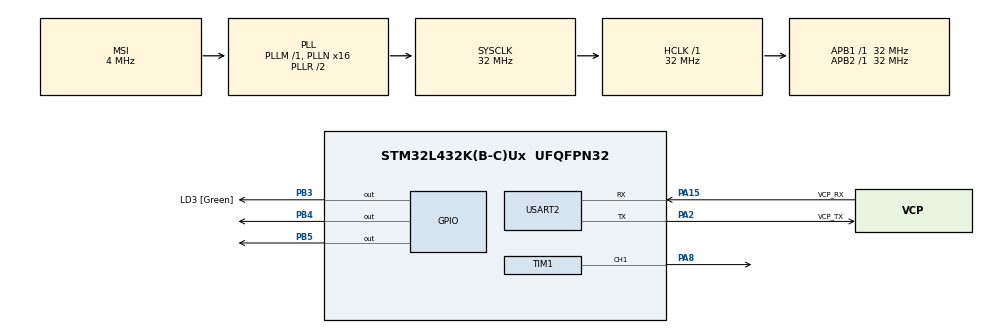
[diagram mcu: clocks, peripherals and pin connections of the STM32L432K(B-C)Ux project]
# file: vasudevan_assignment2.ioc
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Mcu.Family=STM32L4
Mcu.Name=STM32L432K(B-C)Ux
Mcu.Package=UFQFPN32
NVIC.PriorityGroup=NVIC_PRIORITYGROUP_4
PA0.GPIO_Label=MCO [High speed clock in]
PA0.Mode=HSE-External-Clock-Source-for-LittleOrca
PA0.Signal=RCC_CK_IN
PA13\ (JTMS-SWDIO).GPIO_Label=SWDIO
PA13\ (JTMS-SWDIO).Mode=Serial_Wire
PA13\ (JTMS-SWDIO).Signal=SYS_JTMS-SWDIO
PA14\ (JTCK-SWCLK).GPIO_Label=SWCLK
PA14\ (JTCK-SWCLK).Mode=Serial_Wire
PA14\ (JTCK-SWCLK).Signal=SYS_JTCK-SWCLK
PA15\ (JTDI).GPIO_Label=VCP_RX
PA15\ (JTDI).Mode=Asynchronous
PA15\ (JTDI).Signal=USART2_RX
PA2.GPIO_Label=VCP_TX
PA2.Mode=Asynchronous
PA2.Signal=USART2_TX
PA7.Signal=TIM1_CH1N
PA8.Signal=S_TIM1_CH1
PB3\ (JTDO-TRACESWO).GPIO_Label=LD3 [Green]
PB3\ (JTDO-TRACESWO).Signal=GPIO_Output
PB4\ (NJTRST).Signal=GPIO_Output
PB5.Signal=GPIO_Output
PC14-OSC32_IN\ (PC14).Mode=LSE-External-Oscillator
PC14-OSC32_IN\ (PC14).Signal=RCC_OSC32_IN
PC15-OSC32_OUT\ (PC15).Mode=LSE-External-Oscillator
PC15-OSC32_OUT\ (PC15).Signal=RCC_OSC32_OUT
ProjectManager.HeapSize=0x200
ProjectManager.StackSize=0x400
ProjectManager.TargetToolchain=STM32CubeIDE
RCC.AHBFreq_Value=32000000
RCC.APB1Freq_Value=32000000
RCC.APB1TimFreq_Value=32000000
RCC.APB2Freq_Value=32000000
RCC.APB2TimFreq_Value=32000000
RCC.CortexFreq_Value=32000000
RCC.HCLKFreq_Value=32000000
RCC.HSE_VALUE=8000000
RCC.HSI16_VALUE=16000000
RCC.HSI48_VALUE=48000000
RCC.HSI_VALUE=16000000
RCC.MSI_VALUE=4000000
RCC.PLLMUL=RCC_PLLMUL_4
RCC.PLLN=16
RCC.SYSCLKFreq_VALUE=32000000
RCC.SYSCLKSource=RCC_SYSCLKSOURCE_PLLCLK
RCC.VCOOutputFreq_Value=64000000
SH.S_TIM1_CH1.0=TIM1_CH1,PWM Generation1 CH1
TIM1.Channel-PWM\ Generation1\ CH1=TIM_CHANNEL_1
USART2.VirtualMode-Asynchronous=VM_ASYNC
VP_TIM1_VS_ClockSourceINT.Mode=Internal
board=NUCLEO-L432KC

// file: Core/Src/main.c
/* USER CODE BEGIN Header */
/**
  ******************************************************************************
  * FILE           : main.c
  * PROJECT        : vasudevan_assignment2
  * PROGRAMMER     : Pranav Manakkulamparambil Vasudevan
  * FIRST VERSION  : 2020-02-20
  * DESCRIPTION    : Code for embedded systems that allows the authorized staff
                    to access the site. Ten 4-digit authorization codes have been
                    issued for accessing to the site. The software is going to
                    prompt for the passcode before unlocking the facility’s door.

                    * If the entered passcode is correct, then "Access granted"
                      message displays on the Putty screen, Green light displays
                      on RGB led which is excited by the pin PB4 and a continuous
                      auditory signal sent to the speaker via PA7 of STM32L432 for
                      2 seconds
                    * if the entered passcode is incorrect, then "Access denied"
                      meessage displays on the Putty screen, Red light displays
                      on RGP led which is excited by pin PB5 and sos code is send
                      to speaker with is excited by PA7 as an auditory signal
  ******************************************************************************
  * @attention
  *
  * <h2><center>&copy; Copyright (c) 2020 STMicroelectronics.
  * All rights reserved.</center></h2>
  *
  * This software component is licensed by ST under BSD 3-Clause license,
  * the "License"; You may not use this file except in compliance with the
  * License. You may obtain a copy of the License at:
  *                        opensource.org/licenses/BSD-3-Clause
  *
  ******************************************************************************
  */
/* USER CODE END Header */

#include "main.h"
#include "stdio.h"//library to include printf and scanf function
//function declarations
void grantedLed();
void deniedLed();
void sos();

TIM_HandleTypeDef htim1;

UART_HandleTypeDef huart2;

void SystemClock_Config(void);
static void MX_GPIO_Init(void);
static void MX_USART2_UART_Init(void);
static void MX_TIM1_Init(void);

/* USER CODE BEGIN 0 */
void setPWMandTurnON(TIM_HandleTypeDef* htim1, int32_t pwmPeriod) {
	TIM_MasterConfigTypeDef sMasterConfig;
	TIM_OC_InitTypeDef sConfigOC;
	TIM_BreakDeadTimeConfigTypeDef sBreakDeadTimeConfig;
	htim1->Instance = TIM1;
	htim1->Init.Prescaler = 0;
	htim1->Init.CounterMode = TIM_COUNTERMODE_UP;
	htim1->Init.Period = pwmPeriod;
	htim1->Init.ClockDivision = TIM_CLOCKDIVISION_DIV1;
	htim1->Init.RepetitionCounter = 0;
	if (HAL_TIM_PWM_Init(&*htim1) != HAL_OK) {
		Error_Handler();
	}
	sMasterConfig.MasterOutputTrigger = TIM_TRGO_RESET;
	sMasterConfig.MasterOutputTrigger2 = TIM_TRGO2_RESET;
	sMasterConfig.MasterSlaveMode = TIM_MASTERSLAVEMODE_DISABLE;
	if (HAL_TIMEx_MasterConfigSynchronization(&*htim1, &sMasterConfig)
			!= HAL_OK) {
		Error_Handler();
	}
	/* adding this as ST Tech Support said PWM should be stopped before
	 * calling HAL_TIM_PWM_ConfigChannel and I've been getting flakey start-up
	 * i.e.: sometime PWM starts up, other times the line remains stuck high.
	 **************************************/
	HAL_TIM_PWM_Stop(&*htim1, TIM_CHANNEL_1);
	/*************************************/
	sConfigOC.OCMode = TIM_OCMODE_PWM1;
	sConfigOC.Pulse = pwmPeriod / 2;
	sConfigOC.OCPolarity = TIM_OCPOLARITY_HIGH;
	sConfigOC.OCNPolarity = TIM_OCNPOLARITY_HIGH;
	sConfigOC.OCFastMode = TIM_OCFAST_DISABLE;
	sConfigOC.OCIdleState = TIM_OCIDLESTATE_RESET;
	sConfigOC.OCNIdleState = TIM_OCNIDLESTATE_RESET;
	if (HAL_TIM_PWM_ConfigChannel(&*htim1, &sConfigOC, TIM_CHANNEL_1)
			!= HAL_OK) {
		Error_Handler();
	}
	sBreakDeadTimeConfig.OffStateRunMode = TIM_OSSR_DISABLE;
	sBreakDeadTimeConfig.OffStateIDLEMode = TIM_OSSI_DISABLE;
	sBreakDeadTimeConfig.LockLevel = TIM_LOCKLEVEL_OFF;
	sBreakDeadTimeConfig.DeadTime = 0;
	sBreakDeadTimeConfig.BreakState = TIM_BREAK_DISABLE;
	sBreakDeadTimeConfig.BreakPolarity = TIM_BREAKPOLARITY_HIGH;
	sBreakDeadTimeConfig.BreakFilter = 0;
	sBreakDeadTimeConfig.Break2State = TIM_BREAK2_DISABLE;
	sBreakDeadTimeConfig.Break2Polarity = TIM_BREAK2POLARITY_HIGH;
	sBreakDeadTimeConfig.Break2Filter = 0;
	sBreakDeadTimeConfig.AutomaticOutput = TIM_AUTOMATICOUTPUT_DISABLE;
	if (HAL_TIMEx_ConfigBreakDeadTime(&*htim1, &sBreakDeadTimeConfig)
			!= HAL_OK) {
		Error_Handler();
	}
	HAL_TIMEx_PWMN_Start(&*htim1, TIM_CHANNEL_1);
}
/* USER CODE END 0 */

int main(void)
{
  /* USER CODE BEGIN 1 */
	void passcodeMatch();//function declaration

  /* USER CODE END 1 */

  /* MCU Configuration--------------------------------------------------------*/

  /* Reset of all peripherals, Initializes the Flash interface and the Systick. */
  HAL_Init();

  /* Configure the system clock */
  SystemClock_Config();

  /* Initialize all configured peripherals */
  MX_GPIO_Init();
  MX_USART2_UART_Init();
  MX_TIM1_Init();

  /* Infinite loop */
  /* USER CODE BEGIN WHILE */
  while (1)
  {
	  passcodeMatch();// function call to check the password matching
    /* USER CODE END WHILE */

  }
}

void SystemClock_Config(void)
{
  RCC_OscInitTypeDef RCC_OscInitStruct = {0};
  RCC_ClkInitTypeDef RCC_ClkInitStruct = {0};
  RCC_PeriphCLKInitTypeDef PeriphClkInit = {0};

  /** Configure LSE Drive Capability
  */
  HAL_PWR_EnableBkUpAccess();
  __HAL_RCC_LSEDRIVE_CONFIG(RCC_LSEDRIVE_LOW);
  /** Initializes the CPU, AHB and APB busses clocks
  */
  RCC_OscInitStruct.OscillatorType = RCC_OSCILLATORTYPE_LSE|RCC_OSCILLATORTYPE_MSI;
  RCC_OscInitStruct.LSEState = RCC_LSE_ON;
  RCC_OscInitStruct.MSIState = RCC_MSI_ON;
  RCC_OscInitStruct.MSICalibrationValue = 0;
  RCC_OscInitStruct.MSIClockRange = RCC_MSIRANGE_6;
  RCC_OscInitStruct.PLL.PLLState = RCC_PLL_ON;
  RCC_OscInitStruct.PLL.PLLSource = RCC_PLLSOURCE_MSI;
  RCC_OscInitStruct.PLL.PLLM = 1;
  RCC_OscInitStruct.PLL.PLLN = 16;
  RCC_OscInitStruct.PLL.PLLP = RCC_PLLP_DIV7;
  RCC_OscInitStruct.PLL.PLLQ = RCC_PLLQ_DIV2;
  RCC_OscInitStruct.PLL.PLLR = RCC_PLLR_DIV2;
  if (HAL_RCC_OscConfig(&RCC_OscInitStruct) != HAL_OK)
  {
    Error_Handler();
  }
  /** Initializes the CPU, AHB and APB busses clocks
  */
  RCC_ClkInitStruct.ClockType = RCC_CLOCKTYPE_HCLK|RCC_CLOCKTYPE_SYSCLK
                              |RCC_CLOCKTYPE_PCLK1|RCC_CLOCKTYPE_PCLK2;
  RCC_ClkInitStruct.SYSCLKSource = RCC_SYSCLKSOURCE_PLLCLK;
  RCC_ClkInitStruct.AHBCLKDivider = RCC_SYSCLK_DIV1;
  RCC_ClkInitStruct.APB1CLKDivider = RCC_HCLK_DIV1;
  RCC_ClkInitStruct.APB2CLKDivider = RCC_HCLK_DIV1;

  if (HAL_RCC_ClockConfig(&RCC_ClkInitStruct, FLASH_LATENCY_1) != HAL_OK)
  {
    Error_Handler();
  }
  PeriphClkInit.PeriphClockSelection = RCC_PERIPHCLK_USART2;
  PeriphClkInit.Usart2ClockSelection = RCC_USART2CLKSOURCE_PCLK1;
  if (HAL_RCCEx_PeriphCLKConfig(&PeriphClkInit) != HAL_OK)
  {
    Error_Handler();
  }
  /** Configure the main internal regulator output voltage
  */
  if (HAL_PWREx_ControlVoltageScaling(PWR_REGULATOR_VOLTAGE_SCALE1) != HAL_OK)
  {
    Error_Handler();
  }
  /** Enable MSI Auto calibration
  */
  HAL_RCCEx_EnableMSIPLLMode();
}

static void MX_TIM1_Init(void)
{

  TIM_ClockConfigTypeDef sClockSourceConfig = {0};
  TIM_MasterConfigTypeDef sMasterConfig = {0};
  TIM_OC_InitTypeDef sConfigOC = {0};
  TIM_BreakDeadTimeConfigTypeDef sBreakDeadTimeConfig = {0};

  htim1.Instance = TIM1;
  htim1.Init.Prescaler = 0;
  htim1.Init.CounterMode = TIM_COUNTERMODE_UP;
  htim1.Init.Period = 0;
  htim1.Init.ClockDivision = TIM_CLOCKDIVISION_DIV1;
  htim1.Init.RepetitionCounter = 0;
  htim1.Init.AutoReloadPreload = TIM_AUTORELOAD_PRELOAD_DISABLE;
  if (HAL_TIM_Base_Init(&htim1) != HAL_OK)
  {
    Error_Handler();
  }
  sClockSourceConfig.ClockSource = TIM_CLOCKSOURCE_INTERNAL;
  if (HAL_TIM_ConfigClockSource(&htim1, &sClockSourceConfig) != HAL_OK)
  {
    Error_Handler();
  }
  if (HAL_TIM_PWM_Init(&htim1) != HAL_OK)
  {
    Error_Handler();
  }
  sMasterConfig.MasterOutputTrigger = TIM_TRGO_RESET;
  sMasterConfig.MasterOutputTrigger2 = TIM_TRGO2_RESET;
  sMasterConfig.MasterSlaveMode = TIM_MASTERSLAVEMODE_DISABLE;
  if (HAL_TIMEx_MasterConfigSynchronization(&htim1, &sMasterConfig) != HAL_OK)
  {
    Error_Handler();
  }
  sConfigOC.OCMode = TIM_OCMODE_PWM1;
  sConfigOC.Pulse = 0;
  sConfigOC.OCPolarity = TIM_OCPOLARITY_HIGH;
  sConfigOC.OCNPolarity = TIM_OCNPOLARITY_HIGH;
  sConfigOC.OCFastMode = TIM_OCFAST_DISABLE;
  sConfigOC.OCIdleState = TIM_OCIDLESTATE_RESET;
  sConfigOC.OCNIdleState = TIM_OCNIDLESTATE_RESET;
  if (HAL_TIM_PWM_ConfigChannel(&htim1, &sConfigOC, TIM_CHANNEL_1) != HAL_OK)
  {
    Error_Handler();
  }
  sBreakDeadTimeConfig.OffStateRunMode = TIM_OSSR_DISABLE;
  sBreakDeadTimeConfig.OffStateIDLEMode = TIM_OSSI_DISABLE;
  sBreakDeadTimeConfig.LockLevel = TIM_LOCKLEVEL_OFF;
  sBreakDeadTimeConfig.DeadTime = 0;
  sBreakDeadTimeConfig.BreakState = TIM_BREAK_DISABLE;
  sBreakDeadTimeConfig.BreakPolarity = TIM_BREAKPOLARITY_HIGH;
  sBreakDeadTimeConfig.BreakFilter = 0;
  sBreakDeadTimeConfig.Break2State = TIM_BREAK2_DISABLE;
  sBreakDeadTimeConfig.Break2Polarity = TIM_BREAK2POLARITY_HIGH;
  sBreakDeadTimeConfig.Break2Filter = 0;
  sBreakDeadTimeConfig.AutomaticOutput = TIM_AUTOMATICOUTPUT_DISABLE;
  if (HAL_TIMEx_ConfigBreakDeadTime(&htim1, &sBreakDeadTimeConfig) != HAL_OK)
  {
    Error_Handler();
  }
  HAL_TIM_MspPostInit(&htim1);

}

static void MX_USART2_UART_Init(void)
{

  huart2.Instance = USART2;
  huart2.Init.BaudRate = 115200;
  huart2.Init.WordLength = UART_WORDLENGTH_8B;
  huart2.Init.StopBits = UART_STOPBITS_1;
  huart2.Init.Parity = UART_PARITY_NONE;
  huart2.Init.Mode = UART_MODE_TX_RX;
  huart2.Init.HwFlowCtl = UART_HWCONTROL_NONE;
  huart2.Init.OverSampling = UART_OVERSAMPLING_16;
  huart2.Init.OneBitSampling = UART_ONE_BIT_SAMPLE_DISABLE;
  huart2.AdvancedInit.AdvFeatureInit = UART_ADVFEATURE_NO_INIT;
  if (HAL_UART_Init(&huart2) != HAL_OK)
  {
    Error_Handler();
  }

}

static void MX_GPIO_Init(void)
{
  GPIO_InitTypeDef GPIO_InitStruct = {0};

  /* GPIO Ports Clock Enable */
  __HAL_RCC_GPIOC_CLK_ENABLE();
  __HAL_RCC_GPIOA_CLK_ENABLE();
  __HAL_RCC_GPIOB_CLK_ENABLE();

  /*Configure GPIO pin Output Level */
  HAL_GPIO_WritePin(GPIOB, LD3_Pin|GPIO_PIN_4|GPIO_PIN_5, GPIO_PIN_RESET);

  /*Configure GPIO pins : LD3_Pin PB4 PB5 */
  GPIO_InitStruct.Pin = LD3_Pin|GPIO_PIN_4|GPIO_PIN_5;
  GPIO_InitStruct.Mode = GPIO_MODE_OUTPUT_PP;
  GPIO_InitStruct.Pull = GPIO_NOPULL;
  GPIO_InitStruct.Speed = GPIO_SPEED_FREQ_LOW;
  HAL_GPIO_Init(GPIOB, &GPIO_InitStruct);

}

/* USER CODE BEGIN 4 */
/*
 * FUNCTION   :passcodeMatch
 * DESCRIPTION: Store the set of passcodes in an array
 *              gets the the password from the user.
 *              Checking whether the password matches with
 *              the stored passcodes in the array and corresponding
 *              functions are called and messages dispays on putty
 *              screen
 * PARAMETERS : none
 * RETURNS    : Nothing
 */
void passcodeMatch()
{
	//storing authorised passcodes to the array
	int16_t passCodes []={0,1210,1282,2283,5432,2345,9999,7777,6789,9876,2468};
	int16_t passWord=0;//user entered data
	int8_t i=0;// counter for for loop
	int8_t flag=0;//flag to determine the corresponding functions to be done
    printf("Enter the Passcode to unlock the facility door:\n");
    scanf("%d",&passWord);
    for (i=1;i<=10;i++)
	{
	 if( passWord==passCodes[i])//checks passcode matching
	 {
	  flag=1;
	  break;
	 }

	}
	if(flag==0)
	{
	 printf("Access denied\n");
     deniedLed();// function call to perform tasks when access is denied
     }
	else
	{
	printf("Access granted\n");
    grantedLed();// function call to perform tasks when access is granted
    }
}
/*
 * FUNCTION   :grantedLed
 * DESCRIPTION:Turn on the green led via PB4 and
 *             sends auditory signal to speaker for
 *             2 seconds
 * PARAMETERS : none
 * RETURNS    : None
 */
void grantedLed()
{
 HAL_GPIO_WritePin(GPIOB, GPIO_PIN_4, SET);//setting led
 int32_t pwmPeriod=1e9/(400*250);//pwm frequency setting
 setPWMandTurnON(&htim1, pwmPeriod);//turns on speaker
 HAL_Delay(2000);
 HAL_GPIO_WritePin(GPIOB, GPIO_PIN_4, RESET);//resetting led
 setPWMandTurnON(&htim1, 0);//turn off speaker
}
/*
 * FUNCTION   :deniedLed
 * DESCRIPTION:Turn on the red led via PB5 and
 *             calls the function to generate
 *             sos auditory signal to speaker
 * PARAMETERS : none
 * RETURNS    : None
 */
void deniedLed()
{
 HAL_GPIO_WritePin(GPIOB, GPIO_PIN_5, SET);
 sos();
 HAL_GPIO_WritePin(GPIOB, GPIO_PIN_5, RESET);
 setPWMandTurnON(&htim1, 0);
}
/*
 * FUNCTION   :sos
 * DESCRIPTION:Generates the sos auditory signal
 *             to speaker and fed it to the speaker
 *             via PA7
 * PARAMETERS : none
 * RETURNS    : None
 */
void sos()
{
int32_t pwmPeriod=1e9/(640*250);//pwm frequency determination
//S
setPWMandTurnON(&htim1, pwmPeriod);
HAL_Delay(500);
setPWMandTurnON(&htim1, 0);
HAL_Delay(500);
setPWMandTurnON(&htim1, pwmPeriod);
HAL_Delay(500);
setPWMandTurnON(&htim1, 0);
HAL_Delay(500);
setPWMandTurnON(&htim1, pwmPeriod);
HAL_Delay(500);
setPWMandTurnON(&htim1, 0);
HAL_Delay(500);
HAL_Delay(1500);// sos for 's' ends
//code for 'o'
setPWMandTurnON(&htim1, pwmPeriod);
HAL_Delay(1500);
setPWMandTurnON(&htim1, 0);
HAL_Delay(500);
setPWMandTurnON(&htim1, pwmPeriod);
HAL_Delay(1500);
setPWMandTurnON(&htim1, 0);
HAL_Delay(500);
setPWMandTurnON(&htim1, pwmPeriod);
HAL_Delay(1500);
setPWMandTurnON(&htim1, 0);
HAL_Delay(500);
HAL_Delay(1500);//sos code for 'o' ends
//sos code for 's'
setPWMandTurnON(&htim1, pwmPeriod);
HAL_Delay(500);
setPWMandTurnON(&htim1, 0);
HAL_Delay(500);
setPWMandTurnON(&htim1, pwmPeriod);
HAL_Delay(500);
setPWMandTurnON(&htim1, 0);
HAL_Delay(500);
setPWMandTurnON(&htim1, pwmPeriod);
HAL_Delay(500);
setPWMandTurnON(&htim1, 0);
HAL_Delay(500);
}
/* USER CODE END 4 */

void Error_Handler(void)
{
}

/************************ (C) COPYRIGHT STMicroelectronics *****END OF FILE****/
